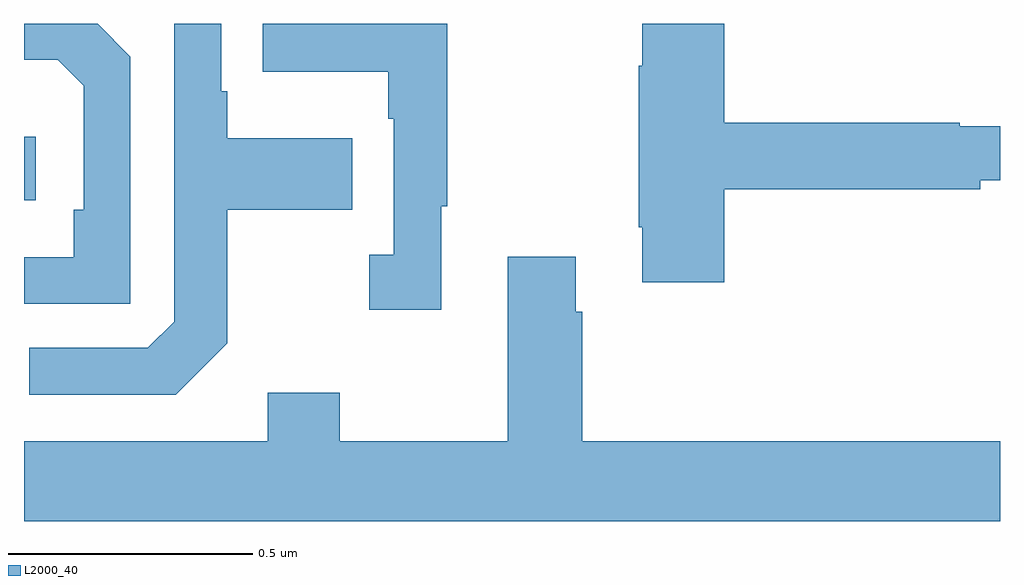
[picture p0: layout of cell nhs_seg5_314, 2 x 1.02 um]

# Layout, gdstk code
import gdstk
lib = gdstk.Library(unit=1e-6, precision=1e-09)
def R(c, l, rs):  # rectangles x0, y0, x1, y1
    for r in rs: c.add(gdstk.rectangle(r[:2], r[2:], *l))
def P(c, l, *ps):  # polygons
    for p in ps: c.add(gdstk.Polygon(p, *l))
L2000_40 = (2000, 40)

nhs_seg5_314 = lib.new_cell('nhs_seg5_314')
R(nhs_seg5_314, L2000_40, [(115,837.438,115.024,837.568)])
P(nhs_seg5_314, L2000_40, [(115.218,837.732),(115.151,837.799),(115,837.799),(115,837.725),(115.069,837.725),(115.122,837.672),(115.122,837.418),(115.102,837.418),(115.102,837.321),(115,837.321),(115,837.225),(115.218,837.225)],
  [(115.417,837.145),(115.417,837.418),(115.673,837.418),(115.673,837.565),(115.417,837.565),(115.417,837.661),(115.404,837.661),(115.404,837.799),(115.308,837.799),(115.308,837.189),(115.254,837.135),(115.011,837.135),(115.011,837.039),(115.311,837.039)],
  [(116.435,837.46),(116.96,837.46),(116.96,837.479),(117,837.479),(117,837.589),(116.918,837.589),(116.918,837.596),(116.435,837.596),(116.435,837.799),(116.267,837.799),(116.267,837.713),(116.26,837.713),(116.26,837.382),(116.267,837.382),(116.267,837.27),(116.435,837.27)],
  [(115.855,837.425),(115.867,837.425),(115.867,837.799),(115.489,837.799),(115.489,837.701),(115.746,837.701),(115.746,837.605),(115.758,837.605),(115.758,837.326),(115.707,837.326),(115.707,837.213),(115.855,837.213)],
  [(117,836.944),(116.144,836.944),(116.144,837.209),(116.131,837.209),(116.131,837.322),(115.991,837.322),(115.991,836.944),(115.647,836.944),(115.647,837.043),(115.499,837.043),(115.499,836.944),(115,836.944),(115,836.78),(117,836.78)])

lib.write_gds('nhs_seg5_314.gds')
